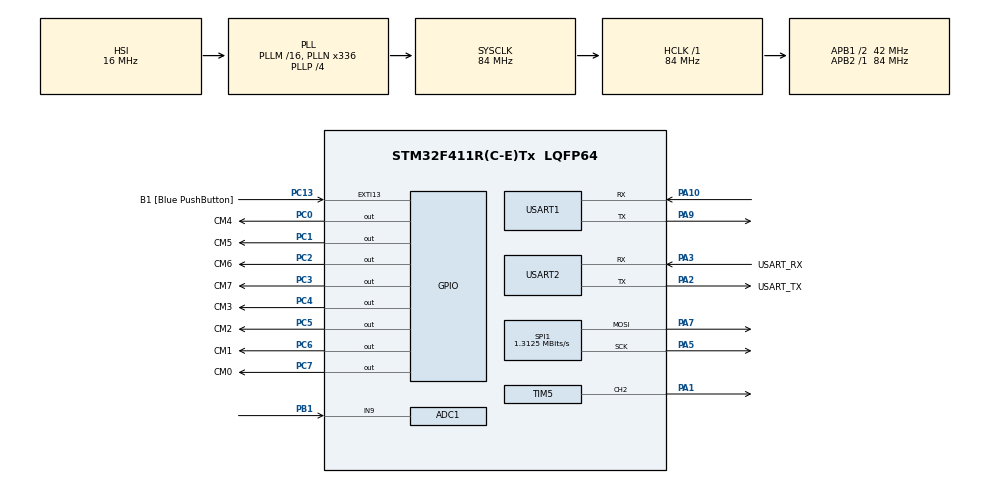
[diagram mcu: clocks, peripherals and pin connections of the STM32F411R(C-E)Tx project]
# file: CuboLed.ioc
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ADC1.Channel-1\#ChannelRegularConversion=ADC_CHANNEL_9
ADC1.NbrOfConversionFlag=1
ADC1.Rank-1\#ChannelRegularConversion=1
ADC1.SamplingTime-1\#ChannelRegularConversion=ADC_SAMPLETIME_3CYCLES
ADC1.master=1
Dma.Request0=SPI1_TX
Dma.SPI1_TX.0.Direction=DMA_MEMORY_TO_PERIPH
Dma.SPI1_TX.0.FIFOMode=DMA_FIFOMODE_DISABLE
Dma.SPI1_TX.0.Instance=DMA2_Stream2
Dma.SPI1_TX.0.MemDataAlignment=DMA_MDATAALIGN_BYTE
Dma.SPI1_TX.0.MemInc=DMA_MINC_ENABLE
Dma.SPI1_TX.0.Mode=DMA_NORMAL
Dma.SPI1_TX.0.PeriphDataAlignment=DMA_PDATAALIGN_BYTE
Dma.SPI1_TX.0.PeriphInc=DMA_PINC_DISABLE
Dma.SPI1_TX.0.Priority=DMA_PRIORITY_HIGH
Mcu.Family=STM32F4
Mcu.Name=STM32F411R(C-E)Tx
Mcu.Package=LQFP64
NVIC.DMA2_Stream2_IRQn=true\:0\:0\:false\:false\:true\:false\:true\:true
NVIC.PriorityGroup=NVIC_PRIORITYGROUP_0
NVIC.TIM1_TRG_COM_TIM11_IRQn=true\:0\:0\:false\:false\:true\:true\:true\:true
NVIC.TIM5_IRQn=true\:0\:0\:false\:false\:true\:true\:true\:true
PA1.Signal=S_TIM5_CH2
PA10.Mode=Asynchronous
PA10.Signal=USART1_RX
PA13.GPIO_Label=TMS
PA13.Mode=Serial_Wire
PA13.Signal=SYS_JTMS-SWDIO
PA14.GPIO_Label=TCK
PA14.Mode=Serial_Wire
PA14.Signal=SYS_JTCK-SWCLK
PA2.GPIO_Label=USART_TX
PA2.Mode=Asynchronous
PA2.Signal=USART2_TX
PA3.GPIO_Label=USART_RX
PA3.Mode=Asynchronous
PA3.Signal=USART2_RX
PA5.Mode=TX_Only_Simplex_Unidirect_Master
PA5.Signal=SPI1_SCK
PA6.Signal=SPI1_MISO
PA7.Mode=TX_Only_Simplex_Unidirect_Master
PA7.Signal=SPI1_MOSI
PA9.Mode=Asynchronous
PA9.Signal=USART1_TX
PB1.Signal=ADCx_IN9
PB3.GPIO_Label=SWO
PB3.Signal=SYS_JTDO-SWO
PC0.GPIO_Label=CM4
PC0.Signal=GPIO_Output
PC1.GPIO_Label=CM5
PC1.Signal=GPIO_Output
PC13-ANTI_TAMP.GPIO_Label=B1 [Blue PushButton]
PC13-ANTI_TAMP.GPIO_ModeDefaultEXTI=GPIO_MODE_IT_FALLING
PC13-ANTI_TAMP.Signal=GPXTI13
PC14-OSC32_IN.Mode=LSE-External-Oscillator
PC14-OSC32_IN.Signal=RCC_OSC32_IN
PC15-OSC32_OUT.Mode=LSE-External-Oscillator
PC15-OSC32_OUT.Signal=RCC_OSC32_OUT
PC2.GPIO_Label=CM6
PC2.Signal=GPIO_Output
PC3.GPIO_Label=CM7
PC3.Signal=GPIO_Output
PC4.GPIO_Label=CM3
PC4.Signal=GPIO_Output
PC5.GPIO_Label=CM2
PC5.Signal=GPIO_Output
PC6.GPIO_Label=CM1
PC6.Signal=GPIO_Output
PC7.GPIO_Label=CM0
PC7.Signal=GPIO_Output
PH0\ -\ OSC_IN.Mode=HSE-External-Clock-Source
PH0\ -\ OSC_IN.Signal=RCC_OSC_IN
PH1\ -\ OSC_OUT.Mode=HSE-External-Clock-Source
PH1\ -\ OSC_OUT.Signal=RCC_OSC_OUT
ProjectManager.HeapSize=0x200
ProjectManager.StackSize=0x400
ProjectManager.TargetToolchain=STM32CubeIDE
RCC.48MHZClocksFreq_Value=84000000
RCC.AHBFreq_Value=84000000
RCC.APB1CLKDivider=RCC_HCLK_DIV2
RCC.APB1Freq_Value=42000000
RCC.APB1TimFreq_Value=84000000
RCC.APB2Freq_Value=84000000
RCC.APB2TimFreq_Value=84000000
RCC.CortexFreq_Value=84000000
RCC.FLatency-AdvancedSettings=FLASH_LATENCY_2
RCC.HCLKFreq_Value=84000000
RCC.HSE_VALUE=8000000
RCC.HSI_VALUE=16000000
RCC.PLLN=336
RCC.PLLP=RCC_PLLP_DIV4
RCC.SYSCLKFreq_VALUE=84000000
RCC.SYSCLKSource=RCC_SYSCLKSOURCE_PLLCLK
RCC.VCOOutputFreq_Value=336000000
SH.ADCx_IN9.0=ADC1_IN9,IN9
SH.S_TIM5_CH2.0=TIM5_CH2,Output Compare2 CH2
SPI1.BaudRatePrescaler=SPI_BAUDRATEPRESCALER_64
SPI1.CalculateBaudRate=1.3125 MBits/s
SPI1.Direction=SPI_DIRECTION_2LINES
SPI1.Mode=SPI_MODE_MASTER
SPI1.VirtualType=VM_MASTER
TIM11.AutoReloadPreload=TIM_AUTORELOAD_PRELOAD_ENABLE
TIM11.Period=(5000-1)
TIM11.Prescaler=(8400-1)
TIM5.AutoReloadPreload=TIM_AUTORELOAD_PRELOAD_ENABLE
TIM5.Channel-Output\ Compare2\ CH2=TIM_CHANNEL_2
TIM5.OCMode_2=TIM_OCMODE_TOGGLE
TIM5.Period=(1000-1)
TIM5.Prescaler=(84-1)
TIM5.Pulse-Output\ Compare2\ CH2=100
USART1.VirtualMode=VM_ASYNC
USART2.VirtualMode=VM_ASYNC
VP_TIM11_VS_ClockSourceINT.Mode=Enable_Timer
VP_TIM5_VS_ClockSourceINT.Mode=Internal
board=NUCLEO-F411RE

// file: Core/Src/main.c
/* USER CODE BEGIN Header */
/**
  ******************************************************************************
  * @file           : main.c
  * @brief          : Main program body
  ******************************************************************************
  * @attention
  *
  * Copyright (c) 2023 STMicroelectronics.
  * All rights reserved.
  *
  * This software is licensed under terms that can be found in the LICENSE file
  * in the root directory of this software component.
  * If no LICENSE file comes with this software, it is provided AS-IS.
  *
  ******************************************************************************
  */
/* USER CODE END Header */
#include "main.h"
#include "adc.h"
#include "dma.h"
#include "spi.h"
#include "tim.h"
#include "usart.h"
#include "gpio.h"

/* USER CODE BEGIN Includes */
#include <stdio.h>
#include <string.h>
#include "cubo.h"
/* USER CODE END Includes */

/* USER CODE BEGIN PV */

#define NEFEITOS (3)
TC_StatusTypedef (*animacao[NEFEITOS])(void)={TRO_Cubo_ChuvaN,
								  TRO_Cubo_Regressiva,
								  TRO_Cubo_ExpEnc
								 };

uint16_t tempoAni[NEFEITOS]={T_CHUVA,T_REGRESSIVA,T_EXPENC};
int16_t nrepeticoes[NEFEITOS]={10,1,7};

int16_t repeticoes=0;

int16_t efeitoAtual=NEFEITOS;

uint8_t camada[8];

TC_StatusTypedef stAni=TC_TERMINOU;

#define TOUT_SER 1000
#define TMSG 100  //!< Tamanho buffer  Tx Uart
uint8_t msg[TMSG]="Cubo Leds \r\n"; //!< Buffer Tx Uart
#define TCMD 2
uint8_t cmd[TCMD];    //!< Buffer Rx Uart
HAL_StatusTypeDef status;
/* USER CODE END PV */

void SystemClock_Config(void);

/* USER CODE BEGIN 0 */

uint8_t novaCam[LINHAS]={0x00,0x00,0x00,0x00,0x00,0x00,0x18};

/* USER CODE END 0 */
int main(void)
{

  /* MCU Configuration--------------------------------------------------------*/

  /* Reset of all peripherals, Initializes the Flash interface and the Systick. */
  HAL_Init();

  /* Configure the system clock */
  SystemClock_Config();

  /* Initialize all configured peripherals */
  MX_GPIO_Init();
  MX_DMA_Init();
  MX_USART2_UART_Init();
  MX_SPI1_Init();
  MX_USART1_UART_Init();
  MX_TIM5_Init();
  MX_ADC1_Init();
  MX_TIM11_Init();
  /* USER CODE BEGIN 2 */
  initRandom(&hadc1);
  TRO_Cubo_Start_IT(&htim5,&hspi1);
  //__HAL_TIM_SET_AUTORELOAD(&htim11,(T_CHUVA*10-1));
 // __HAL_TIM_SET_AUTORELOAD(&htim11,(T_REGRESSIVA*10-1));
  __HAL_TIM_SET_AUTORELOAD(&htim11,(T_EXPANDE*10-1));
  HAL_TIM_Base_Start_IT(&htim11);

  HAL_UART_Transmit(&huart2,msg,strlen(msg),TOUT_SER);
  strncpy(msg,"Feito ! \r\n",TMSG);
  /* USER CODE END 2 */

  /* Infinite loop */
  /* USER CODE BEGIN WHILE */
  while (1)
  {

	  status=HAL_UART_Receive(&huart2, cmd,1,TOUT_SER);
	  if (status==HAL_OK)
	  {
		HAL_UART_Transmit(&huart2,msg,strlen(msg),TOUT_SER);
	  }

    /* USER CODE END WHILE */

  }
}

void SystemClock_Config(void)
{
  RCC_OscInitTypeDef RCC_OscInitStruct = {0};
  RCC_ClkInitTypeDef RCC_ClkInitStruct = {0};

  /** Configure the main internal regulator output voltage
  */
  __HAL_RCC_PWR_CLK_ENABLE();
  __HAL_PWR_VOLTAGESCALING_CONFIG(PWR_REGULATOR_VOLTAGE_SCALE1);

  /** Initializes the RCC Oscillators according to the specified parameters
  * in the RCC_OscInitTypeDef structure.
  */
  RCC_OscInitStruct.OscillatorType = RCC_OSCILLATORTYPE_HSI;
  RCC_OscInitStruct.HSIState = RCC_HSI_ON;
  RCC_OscInitStruct.HSICalibrationValue = RCC_HSICALIBRATION_DEFAULT;
  RCC_OscInitStruct.PLL.PLLState = RCC_PLL_ON;
  RCC_OscInitStruct.PLL.PLLSource = RCC_PLLSOURCE_HSI;
  RCC_OscInitStruct.PLL.PLLM = 16;
  RCC_OscInitStruct.PLL.PLLN = 336;
  RCC_OscInitStruct.PLL.PLLP = RCC_PLLP_DIV4;
  RCC_OscInitStruct.PLL.PLLQ = 4;
  if (HAL_RCC_OscConfig(&RCC_OscInitStruct) != HAL_OK)
  {
    Error_Handler();
  }

  /** Initializes the CPU, AHB and APB buses clocks
  */
  RCC_ClkInitStruct.ClockType = RCC_CLOCKTYPE_HCLK|RCC_CLOCKTYPE_SYSCLK
                              |RCC_CLOCKTYPE_PCLK1|RCC_CLOCKTYPE_PCLK2;
  RCC_ClkInitStruct.SYSCLKSource = RCC_SYSCLKSOURCE_PLLCLK;
  RCC_ClkInitStruct.AHBCLKDivider = RCC_SYSCLK_DIV1;
  RCC_ClkInitStruct.APB1CLKDivider = RCC_HCLK_DIV2;
  RCC_ClkInitStruct.APB2CLKDivider = RCC_HCLK_DIV1;

  if (HAL_RCC_ClockConfig(&RCC_ClkInitStruct, FLASH_LATENCY_2) != HAL_OK)
  {
    Error_Handler();
  }
}

/* USER CODE BEGIN 4 */
void HAL_TIM_PeriodElapsedCallback(TIM_HandleTypeDef *htim)
{
	if (htim->Instance==TIM5)
	{
		TRO_Cubo_Atualiza();
	}
	if (htim->Instance==TIM11)
	{

		if(repeticoes<=0)
		{
			if(++efeitoAtual>=NEFEITOS)
				efeitoAtual=0;

			__HAL_TIM_SET_AUTORELOAD(htim,tempoAni[efeitoAtual]*10-1);
			TRO_Cubo_Set(0);
			repeticoes=nrepeticoes[efeitoAtual];
		}
	 stAni=(*animacao[efeitoAtual])();
	 if (stAni==TC_TERMINOU)
		 repeticoes--;

	}// fim if TIM11
}// fim periodicCallback

void HAL_TIM_OC_DelayElapsedCallback(TIM_HandleTypeDef *htim)
{
	if(htim->Instance==TIM5)
	{
		TRO_Cubo_Controle();
	}
}
/* USER CODE END 4 */

void Error_Handler(void)
{
  __disable_irq();
  while (1)
  {
  }
}
